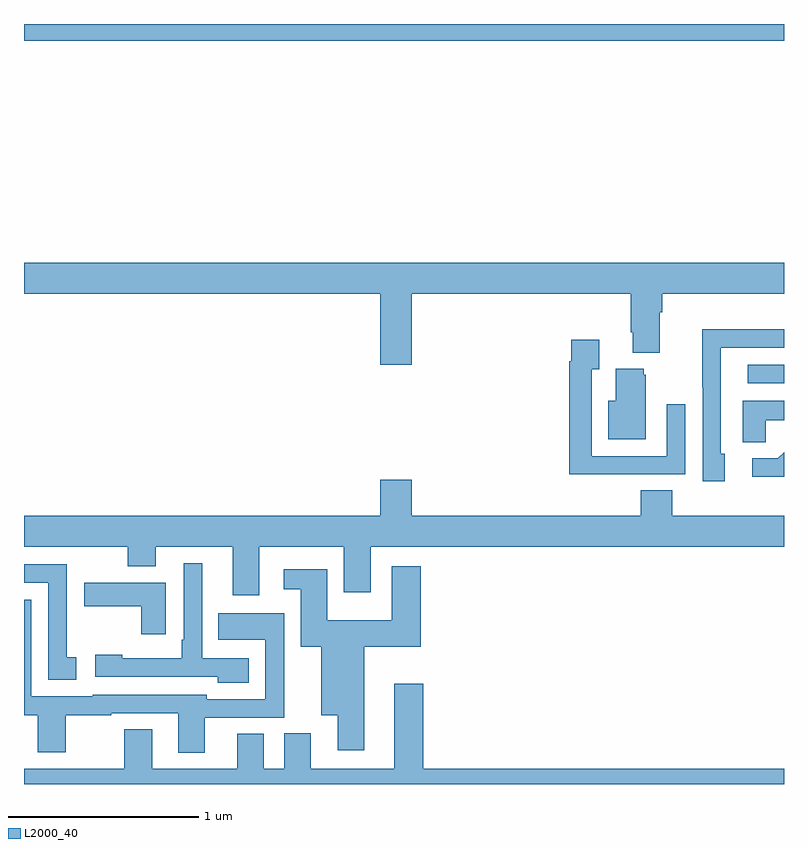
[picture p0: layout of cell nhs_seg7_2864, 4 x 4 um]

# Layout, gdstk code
import gdstk
lib = gdstk.Library(unit=1e-6, precision=1e-09)
def R(c, l, rs):  # rectangles x0, y0, x1, y1
    for r in rs: c.add(gdstk.rectangle(r[:2], r[2:], *l))
def P(c, l, *ps):  # polygons
    for p in ps: c.add(gdstk.Polygon(p, *l))
L2000_40 = (2000, 40)

nhs_seg7_2864 = lib.new_cell('nhs_seg7_2864')
R(nhs_seg7_2864, L2000_40, [(298.809,1036.11,299,1036.206), (295,1037.912,299,1038)])
P(nhs_seg7_2864, L2000_40, [(297.04,1036.58),(298.193,1036.58),(298.193,1036.378),(298.205,1036.378),(298.205,1036.271),(298.345,1036.271),(298.345,1036.484),(298.358,1036.484),(298.358,1036.58),(299,1036.58),(299,1036.744),(295,1036.744),(295,1036.58),(296.876,1036.58),(296.876,1036.206),(297.04,1036.206)],
  [(298.687,1035.738),(298.668,1035.738),(298.668,1036.296),(299,1036.296),(299,1036.394),(298.57,1036.394),(298.57,1036.087),(298.572,1036.087),(298.572,1035.594),(298.687,1035.594)],
  [(298.163,1035.63),(298.479,1035.63),(298.479,1036),(298.383,1036),(298.383,1035.726),(297.987,1035.726),(297.987,1036.183),(298.027,1036.183),(298.027,1036.339),(297.879,1036.339),(297.879,1036.226),(297.871,1036.226),(297.871,1035.629),(298.163,1035.629)],
  [(298.273,1036.155),(298.262,1036.155),(298.262,1036.186),(298.115,1036.186),(298.115,1036.018),(298.076,1036.018),(298.076,1035.815),(298.273,1035.815)],
  [(298.905,1035.914),(299,1035.914),(299,1036.018),(298.784,1036.018),(298.784,1035.799),(298.905,1035.799)],
  [(299,1035.747),(298.967,1035.714),(298.833,1035.714),(298.833,1035.617),(299,1035.617)],
  [(296.239,1035.248),(296.684,1035.248),(296.684,1035.009),(296.824,1035.009),(296.824,1035.248),(299,1035.248),(299,1035.412),(298.412,1035.412),(298.412,1035.545),(298.247,1035.545),(298.247,1035.412),(297.04,1035.412),(297.04,1035.601),(296.876,1035.601),(296.876,1035.412),(295,1035.412),(295,1035.248),(295.546,1035.248),(295.546,1035.146),(295.693,1035.146),(295.693,1035.248),(296.099,1035.248),(296.099,1034.994),(296.239,1034.994)],
  [(296.182,1034.661),(295.938,1034.661),(295.938,1035.163),(295.842,1035.163),(295.842,1034.758),(295.83,1034.758),(295.83,1034.661),(295.518,1034.661),(295.518,1034.68),(295.374,1034.68),(295.374,1034.565),(296.021,1034.565),(296.021,1034.534),(296.182,1034.534)],
  [(295.276,1034.667),(295.224,1034.667),(295.224,1035.156),(295,1035.156),(295,1035.06),(295.128,1035.06),(295.128,1034.548),(295.276,1034.548)],
  [(296.791,1034.723),(297.089,1034.723),(297.089,1035.145),(296.936,1035.145),(296.936,1034.863),(296.596,1034.863),(296.596,1035.13),(296.367,1035.13),(296.367,1035.026),(296.456,1035.026),(296.456,1034.723),(296.564,1034.723),(296.564,1034.363),(296.651,1034.363),(296.651,1034.178),(296.791,1034.178)],
  [(295.747,1035.058),(295.317,1035.058),(295.317,1034.936),(295.618,1034.936),(295.618,1034.787),(295.747,1034.787)],
  [(295.951,1034.349),(296.369,1034.349),(296.369,1034.899),(296.023,1034.899),(296.023,1034.759),(296.271,1034.759),(296.271,1034.445),(295.962,1034.445),(295.962,1034.469),(295.362,1034.469),(295.362,1034.463),(295.038,1034.463),(295.038,1034.97),(295,1034.97),(295,1034.362),(295.073,1034.362),(295.073,1034.166),(295.221,1034.166),(295.221,1034.362),(295.458,1034.362),(295.458,1034.373),(295.811,1034.373),(295.811,1034.165),(295.951,1034.165)],
  [(299,1034.08),(297.101,1034.08),(297.101,1034.527),(296.948,1034.527),(296.948,1034.08),(296.509,1034.08),(296.509,1034.268),(296.369,1034.268),(296.369,1034.08),(296.263,1034.08),(296.263,1034.264),(296.123,1034.264),(296.123,1034.08),(295.675,1034.08),(295.675,1034.287),(295.528,1034.287),(295.528,1034.08),(295,1034.08),(295,1034),(299,1034)])

lib.write_gds('nhs_seg7_2864.gds')
